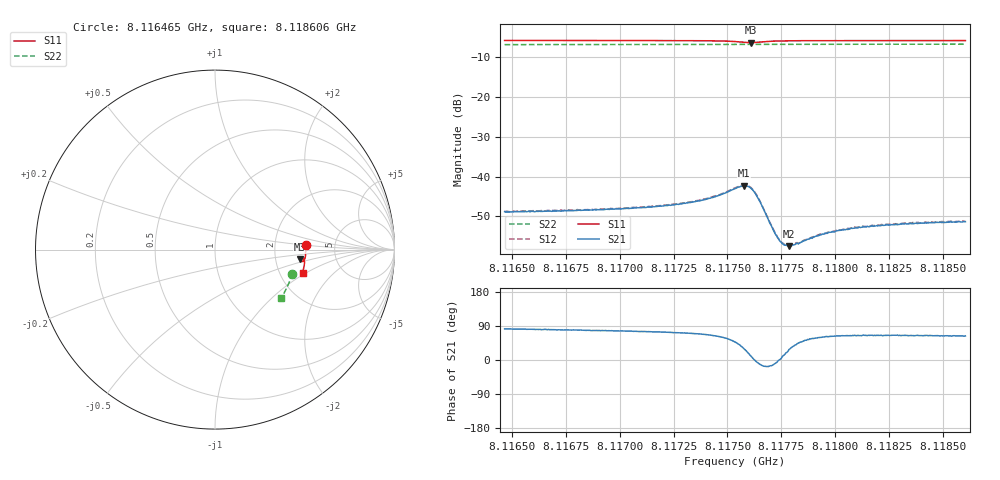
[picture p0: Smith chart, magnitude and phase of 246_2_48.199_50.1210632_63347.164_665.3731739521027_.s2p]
#  HZ  S  RI  R  50.00
! Rohde & Schwarz Vector Network Analyzer
! Rohde-Schwarz,ZNB20-2Port,1311601062101988,3.16
! Created: UTC 3/20/2024, 11:47:04 AM
! freq[Hz]  re:S11  im:S11  re:S21  im:S21  re:S12  im:S12  re:S22  im:S22
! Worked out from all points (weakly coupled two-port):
!   401 points, 8.116465 GHz to 8.118606 GHz, reference 50 ohm
!   highest |S21| = -42.32 dB at 8.117578 GHz (marker M1); lowest = -57.5 dB at 8.117787 GHz (marker M2)
!   lowest |S11| = -6.4 dB at 8.11761 GHz (marker M3), VSWR 2.82, Z = 138 - j19.5 ohm
!   |S11| at or under -10 dB: nowhere
!   |S22| runs from -6.9 to -6.8 dB; largest |S21 - S12| = 0.0002
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8.1164646e9  0.5062 0.0236  0.0005 0.00359  0.000557 0.00363  0.4294 -0.1333
8.1168232e9  0.5063 -0.00368  0.000734 0.0037  0.00081 0.00376  0.4222 -0.1573
8.1171819e9  0.5044 -0.0323  0.00118 0.00408  0.00123 0.00413  0.4138 -0.1808
8.1172889e9  0.5029 -0.0415  0.00143 0.00433  0.0015 0.00438  0.411 -0.1876
8.1173799e9  0.5006 -0.0502  0.00186 0.00467  0.00195 0.00476  0.4084 -0.1936
8.1174656e9  0.4963 -0.0593  0.00281 0.00515  0.00289 0.00518  0.4059 -0.1993
8.1175351e9  0.4869 -0.066  0.00477 0.00521  0.00489 0.00528  0.4034 -0.2036
8.117578e9  0.4769 -0.0637  0.00667 0.00375  0.00683 0.00372  0.4017 -0.206
8.117594e9  0.474 -0.0598  0.00709 0.00256  0.00727 0.00253  0.4013 -0.2067
8.1176101e9  0.4734 -0.0547  0.00698 0.00118  0.00715 0.00118  0.401 -0.2072
8.1176261e9  0.4754 -0.05  0.00633 9.18e-07  0.00643 -3.02e-05  0.4006 -0.2081
8.1176422e9  0.4795 -0.0469  0.00532 -0.000759  0.00538 -0.000828  0.4004 -0.2091
8.1177064e9  0.4931 -0.0504  0.00227 -0.00059  0.00231 -0.0006  0.3991 -0.2131
8.1177332e9  0.4958 -0.0541  0.00173 -9.97e-05  0.0017 -0.000116  0.3983 -0.2151
8.1177546e9  0.4969 -0.0569  0.00143 0.000216  0.00145 0.000199  0.3977 -0.2165
8.1177707e9  0.4976 -0.059  0.00131 0.000427  0.00132 0.000405  0.3973 -0.2174
8.1177867e9  0.4981 -0.0609  0.00118 0.000628  0.00126 0.000574  0.3968 -0.2186
8.1178938e9  0.4987 -0.0723  0.000917 0.00141  0.00097 0.00145  0.3935 -0.2256
8.1180169e9  0.4976 -0.0832  0.000936 0.0019  0.000951 0.0019  0.3894 -0.2331
8.1181186e9  0.4964 -0.0917  0.000989 0.00207  0.001 0.00213  0.3859 -0.2394
8.1182524e9  0.4944 -0.1021  0.00105 0.00222  0.00106 0.0023  0.3813 -0.2476
8.1186057e9  0.4881 -0.1286  0.00121 0.00243  0.00123 0.00244  0.368 -0.2685
